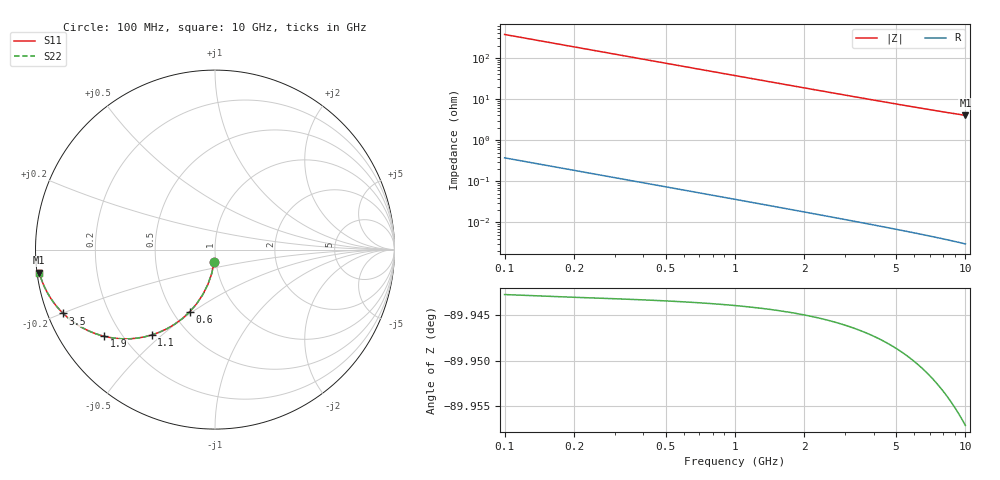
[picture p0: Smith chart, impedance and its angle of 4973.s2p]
# Hz S RI R 50.00
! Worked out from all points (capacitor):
!   100 points, 100 MHz to 10 GHz, reference 50 ohm
!   read as one part in shunt: C = 4.27 pF near 100 MHz
!   lowest |Z| = 4.02 ohm at 10 GHz (marker M1)
!   S11 on the Smith chart (normalised r, x): 100 MHz: 0.98, -0.13; 600 MHz: 0.61, -0.49; 1.1 GHz: 0.32, -0.46; 1.9 GHz: 0.13, -0.34; 3.5 GHz: 0.04, -0.20; 10 GHz: 0.01, -0.07
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1e8  -0.00451 -0.0666  0.9954 -0.0669  0.9954 -0.0669  -0.00451 -0.0666
2e8  -0.0178 -0.1315  0.9822 -0.132  0.9822 -0.132  -0.0178 -0.1315
3e8  -0.0391 -0.1929  0.9609 -0.1938  0.9609 -0.1938  -0.0391 -0.1929
4e8  -0.0673 -0.2496  0.9326 -0.2507  0.9326 -0.2507  -0.0673 -0.2496
5e8  -0.1013 -0.3006  0.8986 -0.302  0.8986 -0.302  -0.1013 -0.3006
6e8  -0.1396 -0.3453  0.8603 -0.3469  0.8603 -0.3469  -0.1396 -0.3453
8e8  -0.2237 -0.4152  0.7762 -0.4174  0.7762 -0.4174  -0.2237 -0.4152
9e8  -0.2672 -0.4408  0.7327 -0.4433  0.7327 -0.4433  -0.2672 -0.4408
1.1e9  -0.3525 -0.4757  0.6475 -0.4788  0.6475 -0.4788  -0.3525 -0.4757
1.4e9  -0.4684 -0.4966  0.5315 -0.5004  0.5315 -0.5004  -0.4684 -0.4966
1.8e9  -0.5927 -0.4883  0.4072 -0.4933  0.4072 -0.4933  -0.5927 -0.4883
1.9e9  -0.6185 -0.4826  0.3814 -0.4879  0.3814 -0.4879  -0.6185 -0.4826
2.2e9  -0.6848 -0.461  0.3151 -0.4671  0.3151 -0.4671  -0.6848 -0.461
2.6e9  -0.752 -0.4277  0.2479 -0.4349  0.2479 -0.4349  -0.752 -0.4277
3e9  -0.8015 -0.3942  0.1984 -0.4025  0.1984 -0.4025  -0.8015 -0.3942
3.4e9  -0.8383 -0.3629  0.1616 -0.3724  0.1616 -0.3724  -0.8383 -0.3629
3.5e9  -0.846 -0.3555  0.1539 -0.3653  0.1539 -0.3653  -0.846 -0.3555
4.2e9  -0.8878 -0.3091  0.112 -0.3209  0.112 -0.3209  -0.8878 -0.3091
5.1e9  -0.9212 -0.2616  0.0787 -0.276  0.0787 -0.276  -0.9212 -0.2616
6.7e9  -0.953 -0.2013  0.0468 -0.2205  0.0468 -0.2205  -0.953 -0.2013
8.4e9  -0.9698 -0.158  0.0299 -0.1823  0.0299 -0.1823  -0.9698 -0.158
1e10  -0.9787 -0.1284  0.0208 -0.1578  0.0208 -0.1578  -0.9787 -0.1284
